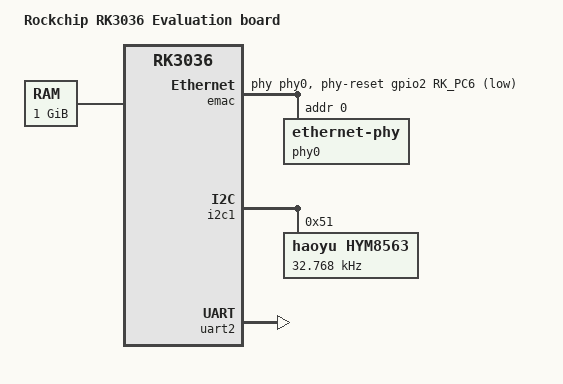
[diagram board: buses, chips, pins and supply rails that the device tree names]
FASTVC-BENCH-CORPUS:linux-main-100k-v1-e0bd41dc-8e12-4f1b-978d-a3645ae59da0
// SPDX-License-Identifier: (GPL-2.0+ OR MIT)

/dts-v1/;

#include "rk3036.dtsi"

/ {
	model = "Rockchip RK3036 Evaluation board";
	compatible = "rockchip,rk3036-evb", "rockchip,rk3036";

	memory@60000000 {
		device_type = "memory";
		reg = <0x60000000 0x40000000>;
	};
};

&emac {
	pinctrl-names = "default";
	pinctrl-0 = <&emac_xfer>, <&emac_mdio>;
	phy = <&phy0>;
	phy-reset-gpios = <&gpio2 RK_PC6 GPIO_ACTIVE_LOW>; /* PHY_RST */
	phy-reset-duration = <10>; /* millisecond */

/* bench 23381.0.0 48a9c8d0bf4b */
/* bench 23381.0.1 5c88009e19b1 */
/* bench 23381.0.2 f4e968d23cc2 */
/* bench 23381.0.3 ad4b1601b6c0 */
/* bench 23381.0.4 0bbd46a2d8f3 */
/* bench 23381.0.5 a25098980bd7 */
/* bench 23381.0.6 bfb9c30b53d9 */

	phy0: ethernet-phy@0 {
		reg = <0>;
	};
};

&i2c1 {
	status = "okay";

	hym8563: hym8563@51 {
		compatible = "haoyu,hym8563";
		reg = <0x51>;
		#clock-cells = <0>;
		clock-frequency = <32768>;
		clock-output-names = "xin32k";
	};
};

&uart2 {
	status = "okay";
};
